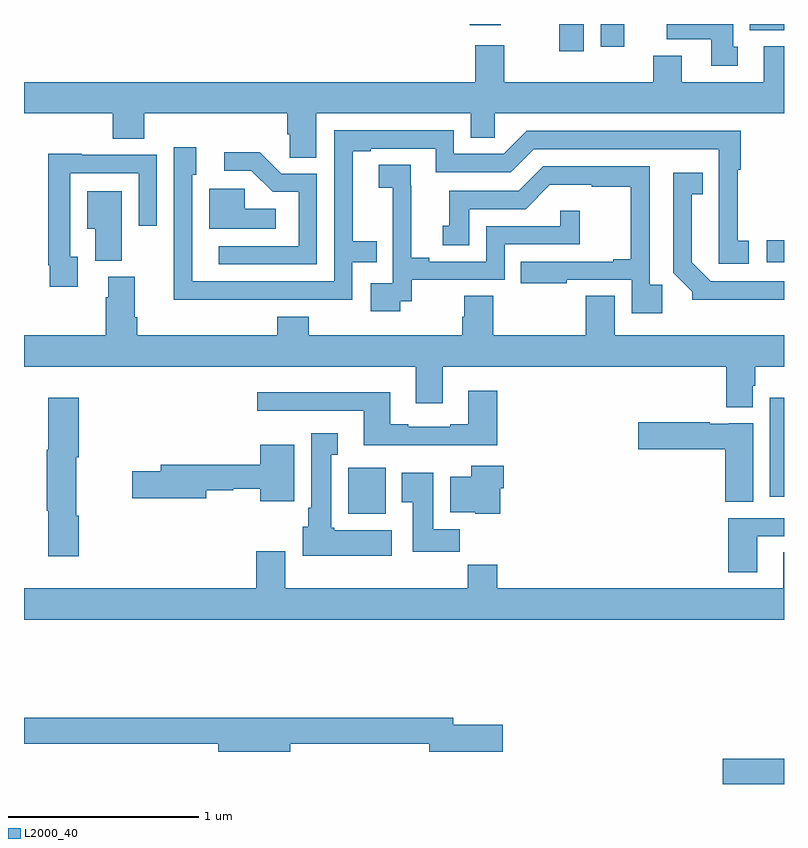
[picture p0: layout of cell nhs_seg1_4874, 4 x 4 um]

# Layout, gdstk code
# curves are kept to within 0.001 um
import gdstk
lib = gdstk.Library(unit=1e-6, precision=1e-09)
def R(c, l, rs):  # rectangles x0, y0, x1, y1
    for r in rs: c.add(gdstk.rectangle(r[:2], r[2:], *l))
def P(c, l, *ps):  # polygons
    for p in ps: c.add(gdstk.Polygon(p, *l))
L2000_40 = (2000, 40)

nhs_seg1_4874 = lib.new_cell('nhs_seg1_4874')
R(nhs_seg1_4874, L2000_40, [(378.678,552.199,379,552.332), (376.706,553.622,376.903,553.864), (378.926,553.712,379,554.233), (378.909,554.946,379,555.062), (377.816,556.056,377.947,556.199), (378.035,556.08,378.16,556.199), (378.821,556.166,379,556.199), (377.346,556.193,377.508,556.199)])
P(nhs_seg1_4874, L2000_40, [(378.757,556.08),(378.733,556.08),(378.733,556.199),(378.382,556.199),(378.382,556.118),(378.617,556.118),(378.617,555.978),(378.757,555.978)],
  [(376.537,555.728),(377.351,555.728),(377.351,555.601),(377.478,555.601),(377.478,555.728),(379,555.728),(379,556.081),(378.893,556.081),(378.893,555.892),(378.463,555.892),(378.463,556.033),(378.311,556.033),(378.311,555.892),(377.527,555.892),(377.527,556.087),(377.375,556.087),(377.375,555.892),(375,555.892),(375,555.728),(375.467,555.728),(375.467,555.595),(375.632,555.595),(375.632,555.728),(376.385,555.728),(376.385,555.619),(376.398,555.619),(376.398,555.496),(376.537,555.496)],
  [(376.25,554.748),(376.728,554.748),(376.728,554.946),(376.856,554.946),(376.856,555.055),(376.729,555.055),(376.729,555.528),(376.825,555.528),(376.825,555.543),(377.166,555.543),(377.166,555.42),(377.562,555.42),(377.682,555.54),(378.657,555.54),(378.656,554.937),(378.814,554.937),(378.814,555.057),(378.756,555.057),(378.756,555.433),(378.773,555.433),(378.773,555.636),(377.646,555.636),(377.526,555.516),(377.262,555.516),(377.262,555.639),(376.632,555.639),(376.632,554.844),(375.885,554.844),(375.885,555.405),(375.907,555.405),(375.907,555.55),(375.789,555.55),(375.788,554.747)],
  [(376.542,555.411),(376.353,555.411),(376.24,555.524),(376.053,555.524),(376.053,555.426),(376.197,555.426),(376.308,555.315),(376.446,555.315),(376.446,555.03),(376.026,555.03),(376.026,554.934),(376.542,554.934)],
  [(375.283,554.973),(375.243,554.973),(375.243,555.414),(375.603,555.414),(375.603,555.138),(375.699,555.138),(375.699,555.51),(375.303,555.51),(375.303,555.517),(375.127,555.517),(375.127,554.929),(375.135,554.929),(375.135,554.817),(375.283,554.817)],
  [(376.98,554.739),(377.042,554.739),(377.042,554.853),(377.529,554.853),(377.529,555.039),(377.924,555.039),(377.924,555.217),(377.823,555.217),(377.823,555.135),(377.433,555.135),(377.433,554.949),(377.134,554.949),(377.134,554.969),(377.038,554.969),(377.038,555.347),(377.036,555.347),(377.036,555.458),(376.866,555.458),(376.866,555.337),(376.94,555.337),(376.94,555.139),(376.941,555.139),(376.941,554.835),(376.824,554.835),(376.824,554.688),(376.98,554.688)],
  [(378.359,554.827),(378.294,554.827),(378.294,555.45),(377.733,555.45),(377.604,555.321),(377.237,555.321),(377.237,555.138),(377.204,555.138),(377.204,555.034),(377.344,555.034),(377.344,555.225),(377.64,555.225),(377.768,555.353),(377.987,555.353),(377.987,555.342),(378.193,555.342),(378.193,554.962),(378.101,554.962),(378.101,554.949),(377.614,554.949),(377.614,554.834),(377.857,554.834),(377.857,554.853),(378.198,554.853),(378.198,554.676),(378.359,554.676)],
  [(378.95,554.748),(379,554.748),(379,554.844),(378.615,554.844),(378.514,554.945),(378.514,555.302),(378.572,555.302),(378.572,555.415),(378.417,555.415),(378.417,554.89),(378.516,554.791),(378.516,554.747)],
  [(376.324,555.226),(376.161,555.226),(376.161,555.333),(375.974,555.333),(375.974,555.122),(376.324,555.122)],
  [(375.514,555.319),(375.332,555.319),(375.332,555.122),(375.374,555.122),(375.374,554.953),(375.514,554.953)],
  [(378.835,554.295),(378.848,554.295),(378.848,554.396),(379,554.396),(379,554.56),(378.109,554.56),(378.109,554.768),(377.957,554.768),(377.957,554.56),(377.471,554.56),(377.471,554.768),(377.318,554.768),(377.318,554.658),(377.306,554.658),(377.306,554.56),(376.499,554.56),(376.499,554.659),(376.334,554.659),(376.334,554.56),(375.596,554.56),(375.596,554.656),(375.583,554.656),(375.583,554.868),(375.443,554.868),(375.443,554.762),(375.431,554.762),(375.431,554.56),(375,554.56),(375,554.396),(377.063,554.396),(377.063,554.202),(377.203,554.202),(377.203,554.396),(378.695,554.396),(378.695,554.183),(378.835,554.183)],
  [(377.492,554.269),(377.339,554.269),(377.339,554.092),(377.243,554.092),(377.243,554.079),(377.023,554.079),(377.023,554.092),(376.927,554.092),(376.927,554.26),(376.227,554.26),(376.227,554.163),(376.787,554.163),(376.787,553.982),(377.492,553.982)],
  [(375.287,553.61),(375.274,553.61),(375.274,553.92),(375.287,553.92),(375.287,554.233),(375.128,554.233),(375.128,553.958),(375.121,553.958),(375.121,553.636),(375.128,553.636),(375.128,553.398),(375.287,553.398)],
  [(378.838,554.098),(378.708,554.098),(378.708,554.095),(378.608,554.095),(378.608,554.103),(378.234,554.103),(378.234,553.961),(378.692,553.961),(378.692,553.684),(378.838,553.684)],
  [(376.936,553.534),(376.632,553.534),(376.632,553.548),(376.618,553.548),(376.618,553.931),(376.651,553.931),(376.651,554.044),(376.511,554.044),(376.511,553.654),(376.496,553.654),(376.496,553.554),(376.466,553.554),(376.466,553.4),(376.936,553.4)],
  [(376.423,553.984),(376.244,553.984),(376.244,553.88),(375.719,553.88),(375.719,553.844),(375.57,553.844),(375.57,553.702),(375.958,553.702),(375.958,553.744),(376.101,553.744),(376.101,553.752),(376.244,553.752),(376.244,553.688),(376.423,553.688)],
  [(377.507,553.755),(377.525,553.755),(377.525,553.873),(377.354,553.873),(377.354,553.816),(377.243,553.816),(377.243,553.628),(377.376,553.628),(377.376,553.622),(377.507,553.622)],
  [(377.294,553.54),(377.155,553.54),(377.155,553.837),(376.988,553.837),(376.988,553.681),(377.045,553.681),(377.045,553.422),(377.294,553.422)],
  [(378.859,553.503),(379,553.503),(379,553.599),(378.707,553.599),(378.707,553.314),(378.859,553.314)],
  [(379,553.418),(378.995,553.418),(378.995,553.228),(377.492,553.228),(377.492,553.352),(377.335,553.352),(377.335,553.228),(376.375,553.228),(376.375,553.423),(376.223,553.423),(376.223,553.228),(375,553.228),(375,553.064),(379,553.064)],
  [(376.402,552.412),(377.132,552.412),(377.132,552.37),(377.521,552.37),(377.521,552.512),(377.26,552.512),(377.26,552.548),(375,552.548),(375,552.412),(376.022,552.412),(376.022,552.37),(376.402,552.37)])

lib.write_gds('nhs_seg1_4874.gds')
